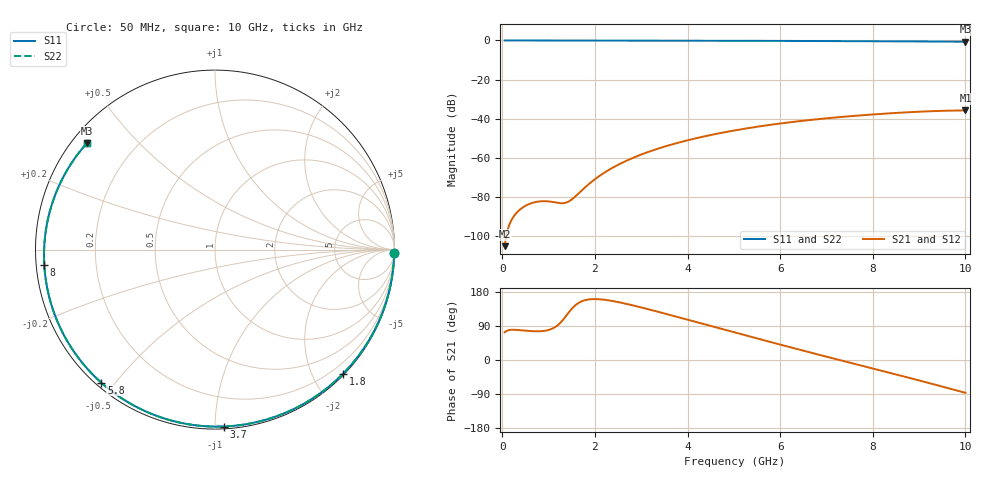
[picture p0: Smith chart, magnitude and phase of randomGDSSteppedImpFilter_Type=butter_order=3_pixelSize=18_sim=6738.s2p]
! freq	dB(S11)	phase(S11)	dB(S12)	phase(S12)
!  dB(S21)	phase(S21)	dB(S22)	phase(S22)
!S-par simulation data
#  GHz  S  DB  R 50
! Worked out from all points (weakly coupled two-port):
!   200 points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, 50 MHz to 10 GHz, reference 50 ohm
!   highest |S21| = -35.71 dB at 10 GHz (marker M1); lowest = -105.0 dB at 50 MHz (marker M2)
!   lowest |S11| = -0.6 dB at 10 GHz (marker M3), VSWR 26.85, Z = 2.11 + j18 ohm
!   |S11| at or under -10 dB: nowhere
!   |S22| runs from -0.6 to 0.0 dB; largest |S21 - S12| = 0
!   S11 on the Smith chart (normalised r, x): 50 MHz: 3, -95; 1.8 GHz: 0.02, -2.46; 3.7 GHz: 0.01, -1.05; 5.8 GHz: 0.02, -0.46; 8 GHz: 0.02, -0.05; 10 GHz: 0.04, +0.36
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0.05  -0.01 -1.2  -105.00 73.2  -105.00 73.2  -0.01 -1.2
0.45  -0.02 -11.2  -85.11 78.0  -85.11 78.0  -0.02 -11.2
0.8  -0.03 -19.9  -82.17 75.8  -82.17 75.8  -0.03 -19.9
1.55  -0.05 -38.2  -80.21 141.4  -80.21 141.4  -0.05 -38.2
1.75  -0.05 -43.0  -75.80 156.5  -75.80 156.5  -0.05 -43.0
1.8  -0.06 -44.2  -74.73 158.3  -74.73 158.3  -0.06 -44.2
2.15  -0.07 -52.4  -68.32 159.7  -68.32 159.7  -0.07 -52.4
2.5  -0.08 -60.5  -63.49 152.9  -63.49 152.9  -0.08 -60.5
2.9  -0.09 -69.6  -59.18 141.7  -59.18 141.7  -0.09 -69.6
3.4  -0.11 -80.7  -54.95 126.0  -54.95 126.0  -0.11 -80.7
3.7  -0.12 -87.2  -52.84 116.3  -52.84 116.3  -0.12 -87.2
4.35  -0.14 -101.0  -49.03 94.8  -49.03 94.8  -0.14 -101.0
5.05  -0.17 -115.4  -45.79 71.7  -45.79 71.7  -0.17 -115.4
5.8  -0.22 -130.5  -43.02 47.2  -43.02 47.2  -0.22 -130.5
6.7  -0.28 -148.4  -40.46 18.2  -40.46 18.2  -0.28 -148.4
7.35  -0.34 -161.5  -38.99 -2.2  -38.99 -2.2  -0.34 -161.5
8  -0.40 -174.8  -37.78 -22.4  -37.78 -22.4  -0.40 -174.8
8.35  -0.44 177.8  -37.22 -33.3  -37.22 -33.3  -0.44 177.8
8.8  -0.49 168.1  -36.60 -47.5  -36.60 -47.5  -0.49 168.1
9.2  -0.54 159.2  -36.16 -60.3  -36.16 -60.3  -0.54 159.2
9.6  -0.59 149.9  -35.86 -73.4  -35.86 -73.4  -0.59 149.9
10  -0.65 140.2  -35.71 -86.6  -35.71 -86.6  -0.65 140.3
